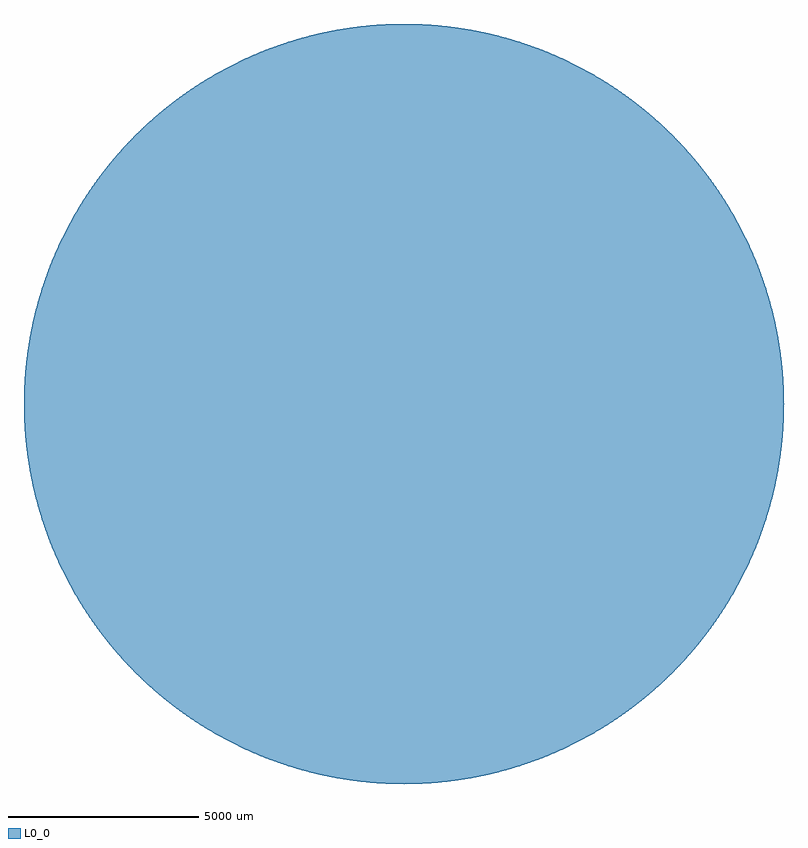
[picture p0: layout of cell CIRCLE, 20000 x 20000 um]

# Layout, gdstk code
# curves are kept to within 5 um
import gdstk
lib = gdstk.Library(unit=1e-6, precision=1e-09)
def P(c, l, *ps):  # polygons
    for p in ps: c.add(gdstk.Polygon(p, *l))
L0_0 = (0, 0)

circle = lib.new_cell('CIRCLE')
P(circle, L0_0, [(0,0),(10000,0),(9993.083,371.87),(9970.175,771.755),(9931.272,1170.401),(9880.879,1538.906),(9811.326,1933.361),(9732.644,2296.877),(9632.856,2684.789),(9517.614,3068.393),(9347.037,3554.279),(9140.104,4056.908),(8906.165,4547.551),(8660.254,5000)],
  [(0,0),(8660.254,5000),(8391.378,5439.19),(8049.617,5933.268),(7697.102,6383.935),(7299.863,6834.618),(6897.024,7240.929),(6449.768,7642.022),(5979.233,8015.533),(5487.119,8360.115),(5000,8660.254)],
  [(0,0),(5000,8660.254),(4547.551,8906.165),(4056.908,9140.104),(3554.279,9347.037),(3068.393,9517.614),(2684.789,9632.856),(2296.877,9732.644),(1933.361,9811.326),(1538.906,9880.879),(1170.401,9931.272),(771.755,9970.175),(371.87,9993.083),(0,10000)],
  [(0,0),(0,10000),(-371.87,9993.083),(-771.755,9970.175),(-1170.401,9931.272),(-1538.906,9880.879),(-1933.361,9811.326),(-2296.877,9732.644),(-2684.789,9632.856),(-3068.393,9517.614),(-3554.279,9347.037),(-4056.908,9140.104),(-4547.551,8906.165),(-5000,8660.254)],
  [(0,0),(-5000,8660.254),(-5439.19,8391.378),(-5933.268,8049.617),(-6383.935,7697.102),(-6834.618,7299.863),(-7240.929,6897.024),(-7642.022,6449.768),(-8015.533,5979.233),(-8360.115,5487.119),(-8660.254,5000)],
  [(0,0),(-8660.254,5000),(-8906.165,4547.551),(-9140.104,4056.908),(-9347.037,3554.279),(-9517.614,3068.393),(-9632.856,2684.789),(-9732.644,2296.877),(-9811.326,1933.361),(-9880.879,1538.906),(-9931.272,1170.401),(-9970.175,771.755),(-9993.083,371.87),(-10000,0)],
  [(0,0),(-10000,0),(-9993.083,-371.87),(-9970.175,-771.755),(-9931.272,-1170.401),(-9880.879,-1538.906),(-9811.326,-1933.361),(-9732.644,-2296.877),(-9632.856,-2684.789),(-9517.614,-3068.393),(-9347.037,-3554.279),(-9140.104,-4056.908),(-8906.165,-4547.551),(-8660.254,-5000)],
  [(0,0),(-8660.254,-5000),(-8391.378,-5439.19),(-8049.617,-5933.268),(-7697.102,-6383.935),(-7299.863,-6834.618),(-6897.024,-7240.929),(-6449.768,-7642.022),(-5979.233,-8015.533),(-5487.119,-8360.115),(-5000,-8660.254)],
  [(0,0),(-5000,-8660.254),(-4547.551,-8906.165),(-4056.908,-9140.104),(-3554.279,-9347.037),(-3068.393,-9517.614),(-2684.789,-9632.856),(-2296.877,-9732.644),(-1933.361,-9811.326),(-1538.906,-9880.879),(-1170.401,-9931.272),(-771.755,-9970.175),(-371.87,-9993.083),(0,-10000)],
  [(0,0),(0,-10000),(371.87,-9993.083),(771.755,-9970.175),(1170.401,-9931.272),(1538.906,-9880.879),(1933.361,-9811.326),(2296.877,-9732.644),(2684.789,-9632.856),(3068.393,-9517.614),(3554.279,-9347.037),(4056.908,-9140.104),(4547.551,-8906.165),(5000,-8660.254)],
  [(0,0),(5000,-8660.254),(5439.19,-8391.378),(5933.268,-8049.617),(6383.935,-7697.102),(6834.618,-7299.863),(7240.929,-6897.024),(7642.022,-6449.768),(8015.533,-5979.233),(8360.115,-5487.119),(8660.254,-5000)],
  [(0,0),(8660.254,-5000),(8906.165,-4547.551),(9140.104,-4056.908),(9347.037,-3554.279),(9517.614,-3068.393),(9632.856,-2684.789),(9732.644,-2296.877),(9811.326,-1933.361),(9880.879,-1538.906),(9931.272,-1170.401),(9970.175,-771.755),(9993.083,-371.87),(10000,0)])

lib.write_gds('CIRCLE.gds')
